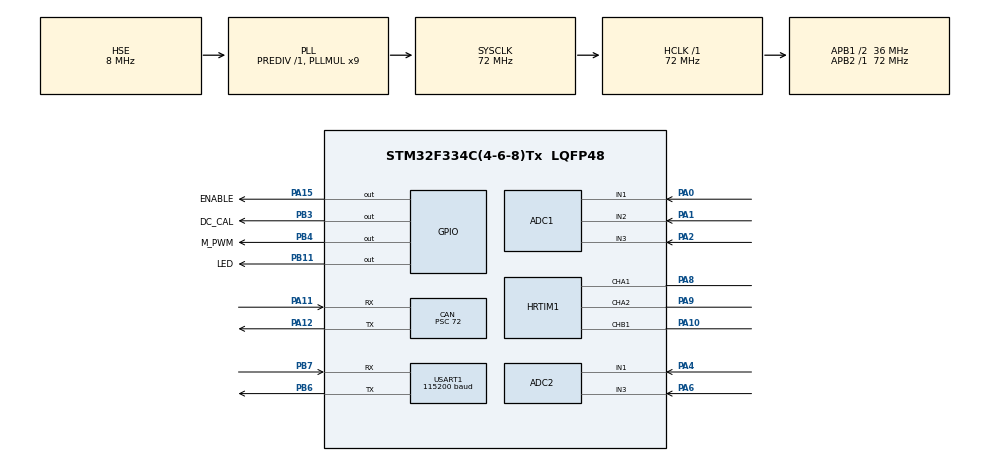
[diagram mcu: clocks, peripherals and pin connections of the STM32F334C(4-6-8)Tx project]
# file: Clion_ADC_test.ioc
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ADC1.Channel-0\#ChannelRegularConversion=ADC_CHANNEL_3
ADC1.Channel-1\#ChannelRegularConversion=ADC_CHANNEL_2
ADC1.Channel-2\#ChannelRegularConversion=ADC_CHANNEL_1
ADC1.NbrOfConversion=3
ADC1.NbrOfConversionFlag=1
ADC1.Offset-0\#ChannelRegularConversion=0
ADC1.Offset-1\#ChannelRegularConversion=0
ADC1.Offset-2\#ChannelRegularConversion=0
ADC1.OffsetNumber-0\#ChannelRegularConversion=ADC_OFFSET_NONE
ADC1.OffsetNumber-1\#ChannelRegularConversion=ADC_OFFSET_NONE
ADC1.OffsetNumber-2\#ChannelRegularConversion=ADC_OFFSET_NONE
ADC1.Rank-0\#ChannelRegularConversion=1
ADC1.Rank-1\#ChannelRegularConversion=2
ADC1.Rank-2\#ChannelRegularConversion=3
ADC1.SamplingTime-0\#ChannelRegularConversion=ADC_SAMPLETIME_1CYCLE_5
ADC1.SamplingTime-1\#ChannelRegularConversion=ADC_SAMPLETIME_1CYCLE_5
ADC1.SamplingTime-2\#ChannelRegularConversion=ADC_SAMPLETIME_1CYCLE_5
ADC1.SubFamily=STM32F334x8
ADC1.master=1
ADC2.Channel-0\#ChannelRegularConversion=ADC_CHANNEL_1
ADC2.Channel-1\#ChannelRegularConversion=ADC_CHANNEL_3
ADC2.NbrOfConversion=2
ADC2.NbrOfConversionFlag=1
ADC2.Offset-0\#ChannelRegularConversion=0
ADC2.Offset-1\#ChannelRegularConversion=0
ADC2.OffsetNumber-0\#ChannelRegularConversion=ADC_OFFSET_NONE
ADC2.OffsetNumber-1\#ChannelRegularConversion=ADC_OFFSET_NONE
ADC2.Rank-0\#ChannelRegularConversion=1
ADC2.Rank-1\#ChannelRegularConversion=2
ADC2.SamplingTime-0\#ChannelRegularConversion=ADC_SAMPLETIME_1CYCLE_5
ADC2.SamplingTime-1\#ChannelRegularConversion=ADC_SAMPLETIME_1CYCLE_5
ADC2.SubFamily=STM32F334x8
CAN.BS1=CAN_BS1_6TQ
CAN.BS2=CAN_BS2_8TQ
CAN.CalculateTimeQuantum=2000.0
CAN.Prescaler=72
CAN.SJW=CAN_SJW_2TQ
Dma.ADC1.2.Direction=DMA_PERIPH_TO_MEMORY
Dma.ADC1.2.Instance=DMA1_Channel1
Dma.ADC1.2.MemDataAlignment=DMA_MDATAALIGN_WORD
Dma.ADC1.2.MemInc=DMA_MINC_ENABLE
Dma.ADC1.2.Mode=DMA_NORMAL
Dma.ADC1.2.PeriphDataAlignment=DMA_PDATAALIGN_WORD
Dma.ADC1.2.PeriphInc=DMA_PINC_DISABLE
Dma.ADC1.2.Priority=DMA_PRIORITY_MEDIUM
Dma.ADC2.0.Direction=DMA_PERIPH_TO_MEMORY
Dma.ADC2.0.Instance=DMA1_Channel2
Dma.ADC2.0.MemDataAlignment=DMA_MDATAALIGN_WORD
Dma.ADC2.0.MemInc=DMA_MINC_ENABLE
Dma.ADC2.0.Mode=DMA_NORMAL
Dma.ADC2.0.PeriphDataAlignment=DMA_PDATAALIGN_WORD
Dma.ADC2.0.PeriphInc=DMA_PINC_DISABLE
Dma.ADC2.0.Priority=DMA_PRIORITY_HIGH
Dma.Request0=ADC2
Dma.Request1=USART1_RX
Dma.Request2=ADC1
Dma.Request3=USART1_TX
Dma.USART1_RX.1.Direction=DMA_PERIPH_TO_MEMORY
Dma.USART1_RX.1.Instance=DMA1_Channel5
Dma.USART1_RX.1.MemDataAlignment=DMA_MDATAALIGN_BYTE
Dma.USART1_RX.1.MemInc=DMA_MINC_ENABLE
Dma.USART1_RX.1.Mode=DMA_NORMAL
Dma.USART1_RX.1.PeriphDataAlignment=DMA_PDATAALIGN_BYTE
Dma.USART1_RX.1.PeriphInc=DMA_PINC_DISABLE
Dma.USART1_RX.1.Priority=DMA_PRIORITY_LOW
Dma.USART1_TX.3.Direction=DMA_MEMORY_TO_PERIPH
Dma.USART1_TX.3.Instance=DMA1_Channel4
Dma.USART1_TX.3.MemDataAlignment=DMA_MDATAALIGN_BYTE
Dma.USART1_TX.3.MemInc=DMA_MINC_ENABLE
Dma.USART1_TX.3.Mode=DMA_NORMAL
Dma.USART1_TX.3.PeriphDataAlignment=DMA_PDATAALIGN_BYTE
Dma.USART1_TX.3.PeriphInc=DMA_PINC_DISABLE
Dma.USART1_TX.3.Priority=DMA_PRIORITY_LOW
FREERTOS.Tasks01=defaultTask,0,128,StartDefaultTask,Default,NULL,Dynamic,NULL,NULL;FOC_LOGIC,0,256,FOC_LOGICFuc,Default,NULL,Dynamic,NULL,NULL;Safe_Check,0,128,Safe_CheckFuc,Default,NULL,Dynamic,NULL,NULL;Send_Task,0,128,Send_TaskFuc,Default,NULL,Dynamic,NULL,NULL
HRTIM1.CompareUnit1-Output_TA1TA2=HRTIM_COMPAREUNIT_1
HRTIM1.CompareUnit1-Output_TB1=HRTIM_COMPAREUNIT_1
HRTIM1.CompareUnit2-Output_TA1TA2=HRTIM_COMPAREUNIT_2
HRTIM1.CompareUnit2-Output_TB1=HRTIM_COMPAREUNIT_2
HRTIM1.CompareUnit3-Output_TA1TA2=HRTIM_COMPAREUNIT_3
HRTIM1.CompareUnit4-Output_TA1TA2=HRTIM_COMPAREUNIT_4
HRTIM1.CompareValue1-Output_TA1TA2=100
HRTIM1.CompareValue1-Output_TB1=0x100
HRTIM1.CompareValue2-Output_TA1TA2=100
HRTIM1.CompareValue2-Output_TB1=0x120
HRTIM1.CompareValue3-Output_TA1TA2=100
HRTIM1.CompareValue4-Output_TA1TA2=100
HRTIM1.NumberResetSource1-Output_TA1TA2=1
HRTIM1.NumberResetSource1-Output_TB1=1
HRTIM1.NumberResetSource2_TA=1
HRTIM1.NumberSetSource1-Output_TA1TA2=1
HRTIM1.NumberSetSource1-Output_TB1=1
HRTIM1.NumberSetSource2_TA=1
HRTIM1.Periode_TA=40960
HRTIM1.Periode_TB=40960
HRTIM1.ResetOutput1_Source1-Output_TA1TA2=HRTIM_OUTPUTRESET_TIMCMP2
HRTIM1.ResetOutput1_Source1-Output_TB1=HRTIM_OUTPUTRESET_TIMCMP2
HRTIM1.ResetOutput2_Source1-Output_TA1TA2=HRTIM_OUTPUTRESET_TIMCMP4
HRTIM1.SetOutput1_Source1-Output_TA1TA2=HRTIM_OUTPUTSET_TIMCMP1
HRTIM1.SetOutput1_Source1-Output_TB1=HRTIM_OUTPUTSET_TIMCMP1
HRTIM1.SetOutput2_Source1-Output_TA1TA2=HRTIM_OUTPUTSET_TIMCMP3
Mcu.Family=STM32F3
Mcu.Name=STM32F334C(4-6-8)Tx
Mcu.Package=LQFP48
NVIC.ADC1_2_IRQn=true\:5\:0\:true\:false\:true\:true\:true\:true
NVIC.CAN_RX0_IRQn=true\:6\:0\:true\:false\:true\:true\:true\:true
NVIC.DMA1_Channel1_IRQn=true\:5\:0\:false\:false\:true\:true\:false\:true
NVIC.DMA1_Channel2_IRQn=true\:5\:0\:false\:false\:true\:true\:false\:true
NVIC.DMA1_Channel4_IRQn=true\:5\:0\:false\:false\:true\:true\:false\:true
NVIC.DMA1_Channel5_IRQn=true\:5\:0\:false\:false\:true\:true\:false\:true
NVIC.PriorityGroup=NVIC_PRIORITYGROUP_4
NVIC.TIM7_DAC2_IRQn=true\:0\:0\:false\:false\:true\:false\:false\:true
NVIC.TimeBase=TIM7_DAC2_IRQn
NVIC.TimeBaseIP=TIM7
NVIC.USART1_IRQn=true\:6\:0\:true\:false\:true\:true\:true\:true
PA0.Mode=IN1-Single-Ended
PA0.Signal=ADC1_IN1
PA1.Mode=IN2-Single-Ended
PA1.Signal=ADC1_IN2
PA10.Mode=Output_TB1
PA10.Signal=HRTIM1_CHB1
PA11.Mode=Master
PA11.Signal=CAN_RX
PA12.Mode=Master
PA12.Signal=CAN_TX
PA13.Mode=Serial_Wire
PA13.Signal=SYS_JTMS-SWDIO
PA14.Mode=Serial_Wire
PA14.Signal=SYS_JTCK-SWCLK
PA15.GPIO_Label=ENABLE
PA15.Signal=GPIO_Output
PA2.Mode=IN3-Single-Ended
PA2.Signal=ADC1_IN3
PA4.Mode=IN1-Single-Ended
PA4.Signal=ADC2_IN1
PA6.Mode=IN3-Single-Ended
PA6.Signal=ADC2_IN3
PA8.Mode=Output_TA1TA2
PA8.Signal=HRTIM1_CHA1
PA9.Mode=Output_TA1TA2
PA9.Signal=HRTIM1_CHA2
PB11.GPIO_Label=LED
PB11.Signal=GPIO_Output
PB3.GPIO_Label=DC_CAL
PB3.Signal=GPIO_Output
PB4.GPIO_Label=M_PWM
PB4.Signal=GPIO_Output
PB6.Mode=Asynchronous
PB6.Signal=USART1_TX
PB7.Mode=Asynchronous
PB7.Signal=USART1_RX
PF0\ /\ OSC_IN.Mode=HSE-External-Oscillator
PF0\ /\ OSC_IN.Signal=RCC_OSC_IN
PF1\ /\ OSC_OUT.Mode=HSE-External-Oscillator
PF1\ /\ OSC_OUT.Signal=RCC_OSC_OUT
ProjectManager.HeapSize=0x200
ProjectManager.StackSize=0x400
ProjectManager.TargetToolchain=MDK-ARM V5.27
RCC.AHBFreq_Value=72000000
RCC.APB1CLKDivider=RCC_HCLK_DIV2
RCC.APB1Freq_Value=36000000
RCC.APB1TimFreq_Value=72000000
RCC.APB2Freq_Value=72000000
RCC.APB2TimFreq_Value=72000000
RCC.CortexFreq_Value=72000000
RCC.HCLKFreq_Value=72000000
RCC.HRTIMSelection=RCC_HRTIM1CLK_PLLCLK
RCC.HSE_VALUE=8000000
RCC.HSI_VALUE=8000000
RCC.LSE_VALUE=32768
RCC.PLLMUL=RCC_PLL_MUL9
RCC.PLLSourceVirtual=RCC_PLLSOURCE_HSE
RCC.SYSCLKFreq_VALUE=72000000
RCC.SYSCLKSourceVirtual=RCC_SYSCLKSOURCE_PLLCLK
TIM6.Period=50
TIM6.Prescaler=71
USART1.BaudRate=115200
USART1.VirtualMode-Asynchronous=VM_ASYNC
VP_FREERTOS_VS_CMSIS_V1.Mode=CMSIS_V1
VP_SYS_VS_tim7.Mode=TIM7
VP_TIM6_VS_ClockSourceINT.Mode=Enable_Timer
board=custom

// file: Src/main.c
/* USER CODE BEGIN Header */
/**
  ******************************************************************************
  * @file           : main.c
  * @brief          : Main program body
  ******************************************************************************
  * @attention
  *
  * <h2><center>&copy; Copyright (c) 2021 STMicroelectronics.
  * All rights reserved.</center></h2>
  *
  * This software component is licensed by ST under Ultimate Liberty license
  * SLA0044, the "License"; You may not use this file except in compliance with
  * the License. You may obtain a copy of the License at:
  *                             www.st.com/SLA0044
  *
  ******************************************************************************
  */
/* USER CODE END Header */

#include "main.h"
#include "cmsis_os.h"
#include "adc.h"
#include "can.h"
#include "dma.h"
#include "hrtim.h"
#include "tim.h"
#include "usart.h"
#include "gpio.h"

/* USER CODE BEGIN Includes */
//#include "retarget.h"
#include "foc.h"
#include "stdio.h"
#include "communication.h"
#include "positionsensor.h"
#include "midtask.h"

/* USER CODE END Includes */

void SystemClock_Config(void);
void MX_FREERTOS_Init(void);
/* USER CODE BEGIN PFP */
//void Perip_Initalization(void);
/* USER CODE END PFP */

/* USER CODE BEGIN 0 */
FOC_Struct foc_handle;
CurrSenStruct Sense_handle;
SVPWMStruct svpwm_handle;
extern uint8_t RecMas[6];
extern uint8_t TranMas[5];

/* USER CODE END 0 */

int main(void)
{

  /* MCU Configuration--------------------------------------------------------*/

  /* Reset of all peripherals, Initializes the Flash interface and the Systick. */
  HAL_Init();

  /* Configure the system clock */
  SystemClock_Config();

  /* Initialize all configured peripherals */
  MX_GPIO_Init();
  MX_DMA_Init();
  MX_ADC1_Init();
  MX_ADC2_Init();
  MX_USART1_UART_Init();
  MX_CAN_Init();
  MX_TIM6_Init();
  MX_HRTIM1_Init();
  /* USER CODE BEGIN 2 */
  Perip_Initalization();
  /* USER CODE END 2 */

  /* Call init function for freertos objects (in freertos.c) */
  MX_FREERTOS_Init();

  /* Start scheduler */
  osKernelStart();

  /* We should never get here as control is now taken by the scheduler */

  /* Infinite loop */
  while (1)
  {

  }
}

void SystemClock_Config(void)
{
  RCC_OscInitTypeDef RCC_OscInitStruct = {0};
  RCC_ClkInitTypeDef RCC_ClkInitStruct = {0};
  RCC_PeriphCLKInitTypeDef PeriphClkInit = {0};

  /** Initializes the CPU, AHB and APB busses clocks
  */
  RCC_OscInitStruct.OscillatorType = RCC_OSCILLATORTYPE_HSE;
  RCC_OscInitStruct.HSEState = RCC_HSE_ON;
  RCC_OscInitStruct.HSEPredivValue = RCC_HSE_PREDIV_DIV1;
  RCC_OscInitStruct.HSIState = RCC_HSI_ON;
  RCC_OscInitStruct.PLL.PLLState = RCC_PLL_ON;
  RCC_OscInitStruct.PLL.PLLSource = RCC_PLLSOURCE_HSE;
  RCC_OscInitStruct.PLL.PLLMUL = RCC_PLL_MUL9;
  if (HAL_RCC_OscConfig(&RCC_OscInitStruct) != HAL_OK)
  {
    Error_Handler();
  }
  /** Initializes the CPU, AHB and APB busses clocks
  */
  RCC_ClkInitStruct.ClockType = RCC_CLOCKTYPE_HCLK|RCC_CLOCKTYPE_SYSCLK
                              |RCC_CLOCKTYPE_PCLK1|RCC_CLOCKTYPE_PCLK2;
  RCC_ClkInitStruct.SYSCLKSource = RCC_SYSCLKSOURCE_PLLCLK;
  RCC_ClkInitStruct.AHBCLKDivider = RCC_SYSCLK_DIV1;
  RCC_ClkInitStruct.APB1CLKDivider = RCC_HCLK_DIV2;
  RCC_ClkInitStruct.APB2CLKDivider = RCC_HCLK_DIV1;

  if (HAL_RCC_ClockConfig(&RCC_ClkInitStruct, FLASH_LATENCY_2) != HAL_OK)
  {
    Error_Handler();
  }
  PeriphClkInit.PeriphClockSelection = RCC_PERIPHCLK_HRTIM1|RCC_PERIPHCLK_USART1
                              |RCC_PERIPHCLK_ADC12;
  PeriphClkInit.Usart1ClockSelection = RCC_USART1CLKSOURCE_PCLK1;
  PeriphClkInit.Adc12ClockSelection = RCC_ADC12PLLCLK_DIV1;
  PeriphClkInit.Hrtim1ClockSelection = RCC_HRTIM1CLK_PLLCLK;
  if (HAL_RCCEx_PeriphCLKConfig(&PeriphClkInit) != HAL_OK)
  {
    Error_Handler();
  }
}

/* USER CODE BEGIN 4 */
void Perip_Initalization(void)
{
	//HAL_ADC_Start_DMA(Sense_handle.Myadc, Sense_handle.RawADC, 3);
  FOC_ID = *(__IO uint16_t*)(Flash_Address);
  //communication initalization
  CAN_USER_Init();
  HAL_CAN_Start(&hcan);

  HAL_CAN_ActivateNotification(&hcan,CAN_IT_RX_FIFO0_MSG_PENDING);
  HAL_UART_Receive_IT(&huart1,RecMas,6);
  //Peripherals  initalization
	//HAL_Delay(2);
  FOCStruct_Init(&foc_handle,&svpwm_handle);
  Init_Drv8302();//final action
	//HAL_ADC_Start_DMA(Sense_handle.Myadc, Sense_handle.RawADC, 3);
  HAL_Delay(10);
  CurrentSensor_Init(&hadc1,&Sense_handle);
// Debug Use----------------------------------------------------------------------------------

//	HAL_ADC_Start_DMA(Sense_handle.Myadc, Sense_handle.RawADC, 3);
//	HAL_HRTIM_WaveformOutputStart(&hhrtim1,HRTIM_OUTPUT_TA1+HRTIM_OUTPUT_TA2);
//	HAL_HRTIM_WaveformOutputStart(&hhrtim1,HRTIM_OUTPUT_TB1);
//	HAL_HRTIM_WaveformCountStart_IT(&hhrtim1,HRTIM_TIMERID_TIMER_A);
//	HAL_HRTIM_WaveformCountStart_IT(&hhrtim1,HRTIM_TIMERID_TIMER_B);
//	Set_HrtimDuty(20000,10000,10000);

// Debug Use----------------------------------------------------------------------------------
  ERROR_CODE = 0;

}
/* USER CODE END 4 */

void HAL_TIM_PeriodElapsedCallback(TIM_HandleTypeDef *htim)
{
  /* USER CODE BEGIN Callback 0 */
//
  /* USER CODE END Callback 0 */
  if (htim->Instance == TIM7) {
    HAL_IncTick();
  }
  /* USER CODE BEGIN Callback 1 */
//
  /* USER CODE END Callback 1 */
}

void Error_Handler(void)
{
}

/************************ (C) COPYRIGHT STMicroelectronics *****END OF FILE****/

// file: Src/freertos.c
/* USER CODE BEGIN Header */
/**
  ******************************************************************************
  * File Name          : freertos.c
  * Description        : Code for freertos applications
  ******************************************************************************
  * @attention
  *
  * <h2><center>&copy; Copyright (c) 2021 STMicroelectronics.
  * All rights reserved.</center></h2>
  *
  * This software component is licensed by ST under Ultimate Liberty license
  * SLA0044, the "License"; You may not use this file except in compliance with
  * the License. You may obtain a copy of the License at:
  *                             www.st.com/SLA0044
  *
  ******************************************************************************
  */
/* USER CODE END Header */

#include "FreeRTOS.h"
#include "task.h"
#include "main.h"
#include "cmsis_os.h"

/* USER CODE BEGIN Includes */
#include "foc.h"
#include "usart.h"
/* USER CODE END Includes */

osThreadId defaultTaskHandle;
osThreadId FOC_LOGICHandle;
osThreadId Safe_CheckHandle;
osThreadId Send_TaskHandle;

void StartDefaultTask(void const * argument);
void FOC_LOGICFuc(void const * argument);
void Safe_CheckFuc(void const * argument);
void Send_TaskFuc(void const * argument);

void MX_FREERTOS_Init(void); /* (MISRA C 2004 rule 8.1) */

/* GetIdleTaskMemory prototype (linked to static allocation support) */
void vApplicationGetIdleTaskMemory( StaticTask_t **ppxIdleTaskTCBBuffer, StackType_t **ppxIdleTaskStackBuffer, uint32_t *pulIdleTaskStackSize );

/* USER CODE BEGIN GET_IDLE_TASK_MEMORY */
static StaticTask_t xIdleTaskTCBBuffer;
static StackType_t xIdleStack[configMINIMAL_STACK_SIZE];

void vApplicationGetIdleTaskMemory( StaticTask_t **ppxIdleTaskTCBBuffer, StackType_t **ppxIdleTaskStackBuffer, uint32_t *pulIdleTaskStackSize )
{
  *ppxIdleTaskTCBBuffer = &xIdleTaskTCBBuffer;
  *ppxIdleTaskStackBuffer = &xIdleStack[0];
  *pulIdleTaskStackSize = configMINIMAL_STACK_SIZE;
  /* place for user code */
}
/* USER CODE END GET_IDLE_TASK_MEMORY */

void MX_FREERTOS_Init(void) {

  /* Create the thread(s) */
  /* definition and creation of defaultTask */
  osThreadDef(defaultTask, StartDefaultTask, osPriorityNormal, 0, 128);
  defaultTaskHandle = osThreadCreate(osThread(defaultTask), NULL);

  /* definition and creation of FOC_LOGIC */
  osThreadDef(FOC_LOGIC, FOC_LOGICFuc, osPriorityNormal, 0, 256);
  FOC_LOGICHandle = osThreadCreate(osThread(FOC_LOGIC), NULL);

  /* definition and creation of Safe_Check */
  osThreadDef(Safe_Check, Safe_CheckFuc, osPriorityNormal, 0, 128);
  Safe_CheckHandle = osThreadCreate(osThread(Safe_Check), NULL);

  /* definition and creation of Send_Task */
  osThreadDef(Send_Task, Send_TaskFuc, osPriorityNormal, 0, 128);
  Send_TaskHandle = osThreadCreate(osThread(Send_Task), NULL);

}

void StartDefaultTask(void const * argument)
{
  /* USER CODE BEGIN StartDefaultTask */
  /* Infinite loop */
	//Perip_Initalization();
  for(;;)
  {
		HAL_GPIO_TogglePin(LED_GPIO_Port,LED_Pin);
    osDelay(500);
  }
  /* USER CODE END StartDefaultTask */
}

void FOC_LOGICFuc(void const * argument)
{
  /* USER CODE BEGIN FOC_LOGICFuc */
  /* Infinite loop */
//	Perip_Initalization();
  for(;;)
  {
		FOC_GetSensorTask();
		FOC_task();
    osDelay(1);
		HAL_ADCEx_Calibration_Start(Sense_handle.Myadc,ADC_SINGLE_ENDED);
		HAL_ADC_Start_DMA(Sense_handle.Myadc, Sense_handle.RawADC, 3);

  }
  /* USER CODE END FOC_LOGICFuc */
}

void Safe_CheckFuc(void const * argument)
{
  /* USER CODE BEGIN Safe_CheckFuc */
  /* Infinite loop */
  for(;;)
  {
		//FOC_GetSensorTask();
		//DMA_printf("ia=%f\r\n",foc_handle.ia);
    osDelay(1);
  }
  /* USER CODE END Safe_CheckFuc */
}

void Send_TaskFuc(void const * argument)
{
  for(;;)
  {
    osDelay(1);
  }
}

/************************ (C) COPYRIGHT STMicroelectronics *****END OF FILE****/
